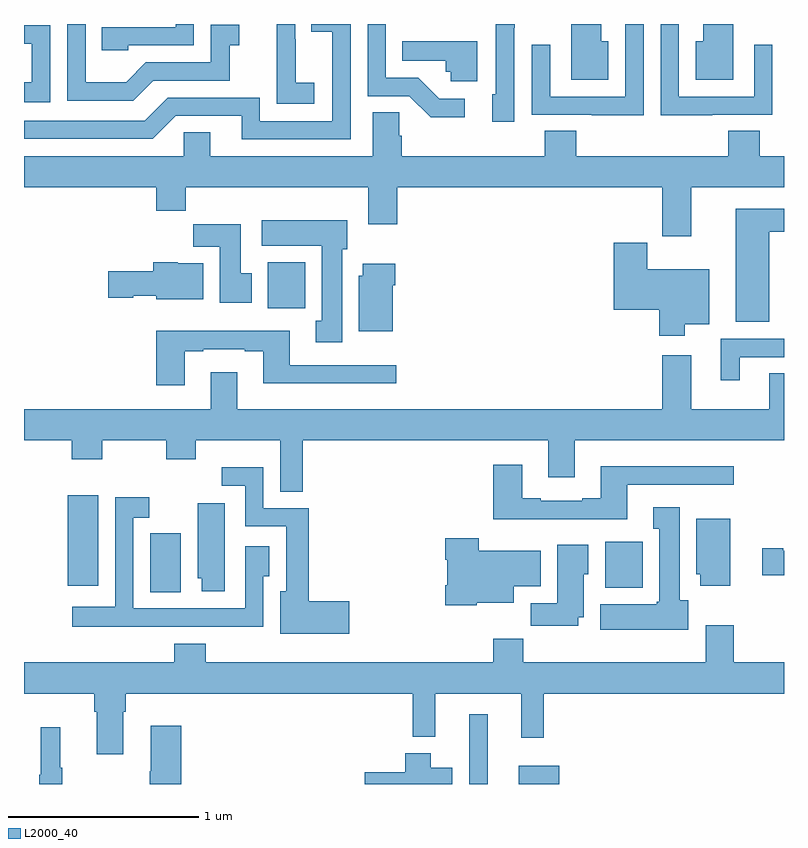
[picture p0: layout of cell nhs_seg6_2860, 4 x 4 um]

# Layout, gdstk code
import gdstk
lib = gdstk.Library(unit=1e-6, precision=1e-09)
def R(c, l, rs):  # rectangles x0, y0, x1, y1
    for r in rs: c.add(gdstk.rectangle(r[:2], r[2:], *l))
def P(c, l, *ps):  # polygons
    for p in ps: c.add(gdstk.Polygon(p, *l))
L2000_40 = (2000, 40)

nhs_seg6_2860 = lib.new_cell('nhs_seg6_2860')
R(nhs_seg6_2860, L2000_40, [(281.343,973.5,281.44,973.867), (281.603,973.5,281.818,973.597), (279.665,974.509,279.826,974.82), (282.059,974.534,282.256,974.776), (279.23,974.544,279.391,975.019), (280.283,976.004,280.48,976.246)])
P(nhs_seg6_2860, L2000_40, [(280.528,977.191),(280.43,977.191),(280.43,977.42),(280.428,977.42),(280.428,977.5),(280.331,977.5),(280.331,977.287),(280.33,977.287),(280.33,977.081),(280.528,977.081)],
  [(281.32,977.106),(281.185,977.106),(281.074,977.217),(280.905,977.217),(280.905,977.5),(280.809,977.5),(280.809,977.121),(281.028,977.121),(281.141,977.009),(281.32,977.009)],
  [(279.679,977.202),(280.083,977.202),(280.083,977.387),(280.132,977.387),(280.132,977.497),(279.984,977.497),(279.984,977.298),(279.642,977.298),(279.538,977.194),(279.324,977.194),(279.324,977.5),(279.228,977.5),(279.228,977.097),(279.574,977.097)],
  [(282.261,977.5),(282.165,977.5),(282.165,977.118),(281.769,977.118),(281.769,977.392),(281.673,977.392),(281.673,977.022),(281.989,977.022),(281.989,977.021),(282.261,977.021)],
  [(282.623,977.022),(282.939,977.022),(282.939,977.392),(282.843,977.392),(282.843,977.118),(282.447,977.118),(282.447,977.5),(282.351,977.5),(282.351,977.021),(282.623,977.021)],
  [(281.58,977.479),(281.583,977.479),(281.583,977.5),(281.483,977.5),(281.483,977.464),(281.484,977.464),(281.484,977.13),(281.465,977.13),(281.465,976.986),(281.58,976.986)],
  [(280.719,977.5),(280.513,977.5),(280.513,977.458),(280.623,977.458),(280.623,976.989),(280.242,976.989),(280.242,977.112),(279.756,977.112),(279.636,976.992),(279,976.992),(279,976.896),(279.678,976.896),(279.798,977.016),(280.145,977.016),(280.145,976.893),(280.719,976.893)],
  [(279.549,977.388),(279.894,977.388),(279.894,977.5),(279.798,977.5),(279.798,977.484),(279.409,977.484),(279.409,977.361),(279.549,977.361)],
  [(282.733,977.5),(282.575,977.5),(282.575,977.41),(282.536,977.41),(282.536,977.207),(282.733,977.207)],
  [(282.076,977.41),(282.037,977.41),(282.037,977.5),(281.879,977.5),(281.879,977.207),(282.076,977.207)],
  [(279.138,977.493),(279,977.493),(279,977.397),(279.041,977.397),(279.041,977.193),(279,977.193),(279,977.088),(279.138,977.088)],
  [(281.386,977.41),(280.99,977.41),(280.99,977.306),(281.221,977.306),(281.221,977.25),(281.247,977.25),(281.247,977.198),(281.386,977.198)],
  [(282.511,976.64),(283,976.64),(283,976.804),(282.872,976.804),(282.872,976.937),(282.707,976.937),(282.707,976.804),(281.906,976.804),(281.906,976.937),(281.741,976.937),(281.741,976.804),(280.988,976.804),(280.988,976.913),(280.974,976.913),(280.974,977.036),(280.835,977.036),(280.835,976.804),(279.979,976.804),(279.979,976.931),(279.84,976.931),(279.84,976.804),(279,976.804),(279,976.64),(279.695,976.64),(279.695,976.516),(279.851,976.516),(279.851,976.64),(280.811,976.64),(280.811,976.446),(280.964,976.446),(280.964,976.64),(282.359,976.64),(282.359,976.383),(282.511,976.383)],
  [(282.922,976.406),(283,976.406),(283,976.528),(282.746,976.528),(282.746,975.932),(282.922,975.932)],
  [(280.675,976.314),(280.702,976.314),(280.702,976.468),(280.251,976.468),(280.251,976.334),(280.568,976.334),(280.568,975.938),(280.535,975.938),(280.535,975.825),(280.675,975.825)],
  [(280.198,976.188),(280.141,976.188),(280.141,976.447),(279.892,976.447),(279.892,976.328),(280.031,976.328),(280.031,976.032),(280.198,976.032)],
  [(282.478,975.92),(282.607,975.92),(282.607,976.21),(282.281,976.21),(282.281,976.348),(282.104,976.348),(282.104,975.995),(282.344,975.995),(282.344,975.858),(282.478,975.858)],
  [(279.943,976.24),(279.81,976.24),(279.81,976.246),(279.68,976.246),(279.68,976.2),(279.444,976.2),(279.444,976.058),(279.576,976.058),(279.576,976.07),(279.696,976.07),(279.696,976.052),(279.943,976.052)],
  [(280.942,976.124),(280.955,976.124),(280.955,976.237),(280.784,976.237),(280.784,976.176),(280.763,976.176),(280.763,975.884),(280.942,975.884)],
  [(279.847,975.777),(279.943,975.777),(279.943,975.789),(280.163,975.789),(280.163,975.777),(280.259,975.777),(280.259,975.608),(280.96,975.608),(280.96,975.705),(280.399,975.705),(280.399,975.886),(279.695,975.886),(279.695,975.6),(279.847,975.6)],
  [(282.766,975.747),(283,975.747),(283,975.843),(282.668,975.843),(282.668,975.624),(282.766,975.624)],
  [(280.468,975.308),(281.759,975.308),(281.759,975.114),(281.899,975.114),(281.899,975.308),(283,975.308),(283,975.662),(282.923,975.662),(282.923,975.472),(282.511,975.472),(282.511,975.757),(282.359,975.757),(282.359,975.472),(280.123,975.472),(280.123,975.667),(279.983,975.667),(279.983,975.472),(279,975.472),(279,975.308),(279.251,975.308),(279.251,975.209),(279.411,975.209),(279.411,975.308),(279.748,975.308),(279.748,975.209),(279.903,975.209),(279.903,975.308),(280.349,975.308),(280.349,975.037),(280.468,975.037)],
  [(282.175,975.075),(282.736,975.075),(282.736,975.172),(282.035,975.172),(282.035,975.004),(281.939,975.004),(281.939,974.991),(281.719,974.991),(281.719,975.004),(281.623,975.004),(281.623,975.181),(281.471,975.181),(281.471,974.894),(282.175,974.894)],
  [(280.711,974.462),(280.498,974.462),(280.498,974.952),(280.26,974.952),(280.26,975.166),(280.041,975.166),(280.041,975.069),(280.164,975.069),(280.164,974.856),(280.379,974.856),(280.379,974.515),(280.349,974.515),(280.349,974.291),(280.711,974.291)],
  [(279.673,974.328),(280.039,974.328),(280.039,974.327),(280.26,974.327),(280.26,974.593),(280.291,974.593),(280.291,974.752),(280.164,974.752),(280.164,974.424),(279.576,974.424),(279.576,974.901),(279.658,974.901),(279.658,975.01),(279.48,975.01),(279.48,974.434),(279.255,974.434),(279.255,974.327),(279.673,974.327)],
  [(280.057,974.977),(279.914,974.977),(279.914,974.583),(279.935,974.583),(279.935,974.514),(280.057,974.514)],
  [(282.496,974.466),(282.451,974.466),(282.451,974.956),(282.311,974.956),(282.311,974.843),(282.344,974.843),(282.344,974.46),(282.331,974.46),(282.331,974.446),(282.032,974.446),(282.032,974.312),(282.496,974.312)],
  [(282.718,974.896),(282.539,974.896),(282.539,974.604),(282.56,974.604),(282.56,974.544),(282.718,974.544)],
  [(281.382,974.453),(281.578,974.453),(281.578,974.54),(281.719,974.54),(281.719,974.728),(281.394,974.728),(281.394,974.794),(281.216,974.794),(281.216,974.681),(281.228,974.681),(281.228,974.545),(281.216,974.545),(281.216,974.441),(281.382,974.441)],
  [(281.917,974.378),(281.947,974.378),(281.947,974.604),(281.971,974.604),(281.971,974.758),(281.807,974.758),(281.807,974.452),(281.668,974.452),(281.668,974.334),(281.917,974.334)],
  [(283,974.728),(282.997,974.728),(282.997,974.741),(282.885,974.741),(282.885,974.599),(283,974.599)],
  [(279.523,973.88),(279.536,973.88),(279.536,973.976),(281.047,973.976),(281.047,973.748),(281.165,973.748),(281.165,973.976),(281.618,973.976),(281.618,973.743),(281.735,973.743),(281.735,973.976),(283,973.976),(283,974.14),(282.735,974.14),(282.735,974.335),(282.587,974.335),(282.587,974.14),(281.627,974.14),(281.627,974.264),(281.471,974.264),(281.471,974.14),(279.956,974.14),(279.956,974.239),(279.791,974.239),(279.791,974.14),(279,974.14),(279,973.976),(279.371,973.976),(279.371,973.88),(279.383,973.88),(279.383,973.656),(279.523,973.656)],
  [(279.827,973.807),(279.668,973.807),(279.668,973.568),(279.661,973.568),(279.661,973.5),(279.827,973.5)],
  [(279.202,973.585),(279.191,973.585),(279.191,973.798),(279.088,973.798),(279.088,973.548),(279.081,973.548),(279.081,973.5),(279.202,973.5)],
  [(281.254,973.585),(281.14,973.585),(281.14,973.663),(281.006,973.663),(281.006,973.563),(280.794,973.563),(280.794,973.5),(281.254,973.5)])

lib.write_gds('nhs_seg6_2860.gds')
